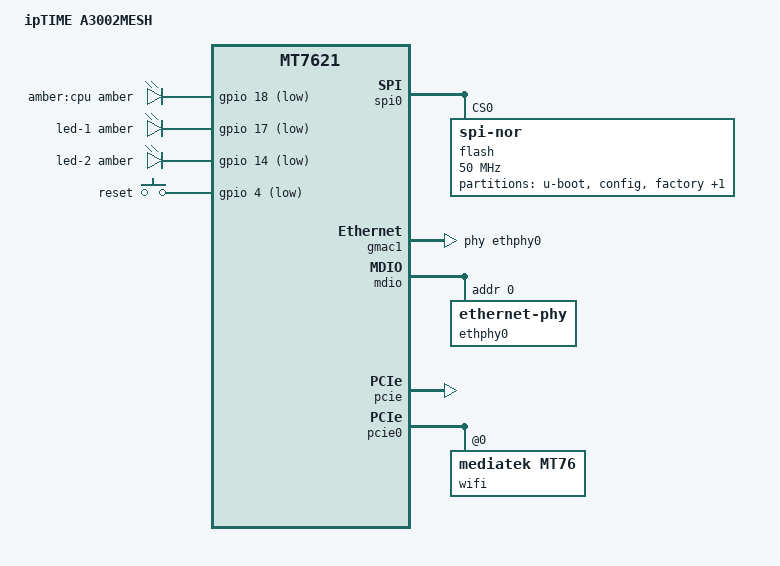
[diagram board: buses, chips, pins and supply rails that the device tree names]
// SPDX-License-Identifier: GPL-2.0-or-later OR MIT

#include "mt7621.dtsi"

#include <dt-bindings/gpio/gpio.h>
#include <dt-bindings/input/input.h>
#include <dt-bindings/leds/common.h>

/ {
	compatible = "iptime,a3002mesh", "mediatek,mt7621-soc";
	model = "ipTIME A3002MESH";

	aliases {
		led-boot = &led_cpu;
		led-failsafe = &led_cpu;
		led-running = &led_cpu;
		led-upgrade = &led_cpu;
	};

	leds {
		compatible = "gpio-leds";

		led_cpu: led-0 {
			label = "amber:cpu";
			color = <LED_COLOR_ID_AMBER>;
			function = LED_FUNCTION_CPU;
			gpios = <&gpio 18 GPIO_ACTIVE_LOW>;
		};

		led-1 {
			color = <LED_COLOR_ID_AMBER>;
			function = LED_FUNCTION_WLAN;
			function-enumerator = <0>;
			gpios = <&gpio 17 GPIO_ACTIVE_LOW>;
			linux,default-trigger = "phy0radio";
		};

		led-2 {
			color = <LED_COLOR_ID_AMBER>;
			function = LED_FUNCTION_WLAN;
			function-enumerator = <1>;
			gpios = <&gpio 14 GPIO_ACTIVE_LOW>;
			linux,default-trigger = "phy1radio";
		};
	};

	keys {
		compatible = "gpio-keys";

		reset {
			label = "reset";
			gpios = <&gpio 4 GPIO_ACTIVE_LOW>;
			linux,code = <KEY_RESTART>;
		};
	};
};

&spi0 {
	status = "okay";

	flash@0 {
		compatible = "jedec,spi-nor";
		reg = <0>;
		spi-max-frequency = <50000000>;

		partitions {
			compatible = "fixed-partitions";
			#address-cells = <1>;
			#size-cells = <1>;

			partition@0 {
				label = "u-boot";
				reg = <0x0 0x20000>;
				read-only;

				compatible = "nvmem-cells";
				#address-cells = <1>;
				#size-cells = <1>;

				macaddr_uboot_1fc40: macaddr@1fc40 {
					reg = <0x1fc40 0x6>;
				};
			};

			partition@20000 {
				label = "config";
				reg = <0x20000 0x10000>;
				read-only;
			};

			factory: partition@30000 {
				label = "factory";
				reg = <0x30000 0x10000>;
				read-only;
			};

			partition@40000 {
				compatible = "denx,uimage";
				label = "firmware";
				reg = <0x40000 0xfc0000>;
			};
		};
	};
};

&gmac0 {
	nvmem-cells = <&macaddr_uboot_1fc40>;
	nvmem-cell-names = "mac-address";
	mac-address-increment = <(2)>;
};

&gmac1 {
	status = "okay";
	label = "wan";
	phy-handle = <&ethphy0>;

	nvmem-cells = <&macaddr_uboot_1fc40>;
	nvmem-cell-names = "mac-address";
};

&mdio {
	ethphy0: ethernet-phy@0 {
		reg = <0>;
	};
};

&switch0 {
	ports {
		port@3 {
			status = "okay";
			label = "lan1";
		};

		port@4 {
			status = "okay";
			label = "lan2";
		};
	};
};

&pcie {
	status = "okay";
};

&pcie0 {
	wifi@0,0 {
		compatible = "mediatek,mt76";
		reg = <0x0000 0 0 0 0>;
		mediatek,mtd-eeprom = <&factory 0x0000>;
	};
};

&state_default {
	gpio {
		groups = "i2c", "jtag", "wdt";
		function = "gpio";
	};
};
